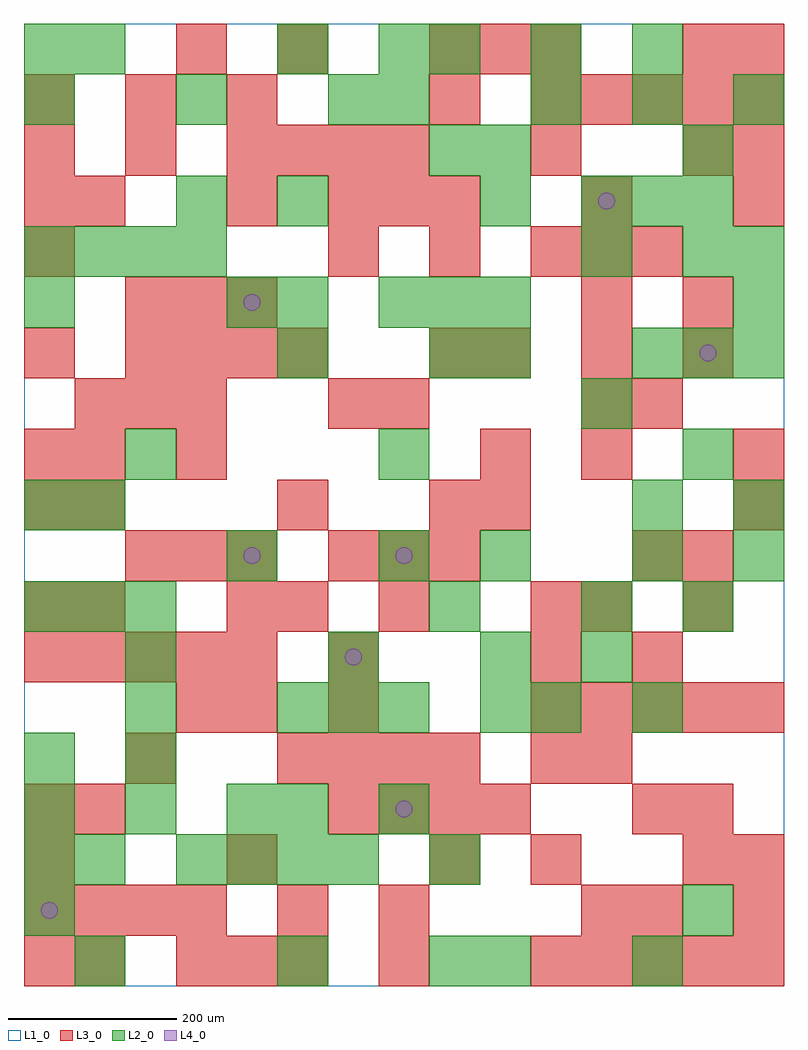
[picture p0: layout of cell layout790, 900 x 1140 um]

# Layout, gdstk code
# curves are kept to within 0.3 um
import gdstk
lib = gdstk.Library(unit=1e-6, precision=1e-09)
def R(c, l, rs):  # rectangles x0, y0, x1, y1
    for r in rs: c.add(gdstk.rectangle(r[:2], r[2:], *l))
def A(c, l, x, y, w, h, nx, ny, dx, dy):  # array of equal rectangles
    R(c, l, [(x+i*dx, y+j*dy, x+i*dx+w, y+j*dy+h) for i in range(nx) for j in range(ny)])
def P(c, l, *ps):  # polygons
    for p in ps: c.add(gdstk.Polygon(p, *l))
L1_0 = (1, 0)
L2_0 = (2, 0)
L3_0 = (3, 0)
L4_0 = (4, 0)

layout790 = lib.new_cell('layout790')
R(layout790, L1_0, [(0,0,900,1140)])
A(layout790, L2_0, 180, 120, 60, 60, 4, 1, 60, 0)
A(layout790, L2_0, 480, 120, 60, 60, 1, 3, 0, 300)
A(layout790, L2_0, 0, 180, 60, 60, 3, 1, 120, 0)
A(layout790, L2_0, 120, 240, 60, 60, 1, 3, 0, 60)
A(layout790, L2_0, 300, 300, 60, 60, 3, 1, 60, 0)
A(layout790, L2_0, 0, 420, 60, 60, 3, 1, 60, 0)
A(layout790, L2_0, 720, 720, 60, 60, 3, 1, 60, 0)
A(layout790, L2_0, 420, 780, 60, 60, 3, 1, 60, 0)
A(layout790, L2_0, 0, 840, 60, 60, 4, 1, 60, 0)
A(layout790, L2_0, 660, 900, 60, 60, 3, 1, 60, 0)
A(layout790, L2_0, 0, 1020, 60, 60, 3, 1, 180, 0)
A(layout790, L2_0, 600, 1020, 60, 60, 3, 1, 120, 0)
A(layout790, L2_0, 480, 1080, 60, 60, 3, 1, 120, 0)
R(layout790, L2_0, [(60,0,120,60), (300,0,360,60), (480,0,540,60), (540,0,600,60), (720,0,780,60), (0,60,60,120), (780,60,840,120), (0,120,60,180), (60,120,120,180), (300,180,360,240), (420,180,480,240), (0,240,60,300), (540,300,600,360), (600,300,660,360), (720,300,780,360), (360,360,420,420), (540,360,600,420), (660,360,720,420), (660,420,720,480), (780,420,840,480), (240,480,300,540), (420,480,480,540), (540,480,600,540), (720,480,780,540), (840,480,900,540), (0,540,60,600), (60,540,120,600), (720,540,780,600), (840,540,900,600), (120,600,180,660), (420,600,480,660), (780,600,840,660), (660,660,720,720), (300,720,360,780), (540,720,600,780), (0,780,60,840), (240,780,300,840), (300,780,360,840), (840,780,900,840), (660,840,720,900), (780,840,840,900), (840,840,900,900), (180,900,240,960), (300,900,360,960), (540,900,600,960), (480,960,540,1020), (540,960,600,1020), (780,960,840,1020), (420,1020,480,1080), (0,1080,60,1140), (60,1080,120,1140), (300,1080,360,1140), (420,1080,480,1140)])
A(layout790, L3_0, 180, 0, 60, 60, 3, 1, 60, 0)
A(layout790, L3_0, 600, 0, 60, 60, 5, 2, 60, 300)
A(layout790, L3_0, 0, 60, 60, 60, 4, 1, 60, 0)
A(layout790, L3_0, 660, 60, 60, 60, 1, 4, 0, 180)
A(layout790, L3_0, 0, 120, 60, 60, 3, 1, 240, 0)
A(layout790, L3_0, 600, 120, 60, 60, 1, 3, 0, 120)
A(layout790, L3_0, 360, 180, 60, 60, 4, 1, 60, 0)
A(layout790, L3_0, 300, 240, 60, 60, 4, 1, 60, 0)
A(layout790, L3_0, 0, 360, 60, 60, 5, 1, 60, 0)
A(layout790, L3_0, 120, 480, 60, 60, 3, 2, 60, 300)
A(layout790, L3_0, 360, 480, 60, 60, 3, 2, 60, 420)
A(layout790, L3_0, 720, 480, 60, 60, 1, 3, 0, 180)
A(layout790, L3_0, 0, 600, 60, 60, 1, 3, 0, 120)
A(layout790, L3_0, 60, 660, 60, 60, 3, 1, 60, 0)
A(layout790, L3_0, 120, 720, 60, 60, 4, 1, 60, 0)
A(layout790, L3_0, 540, 720, 60, 60, 3, 1, 120, 0)
A(layout790, L3_0, 660, 780, 60, 60, 1, 3, 0, 60)
A(layout790, L3_0, 360, 840, 60, 60, 3, 1, 120, 0)
A(layout790, L3_0, 0, 960, 60, 60, 3, 2, 120, 60)
A(layout790, L3_0, 300, 960, 60, 60, 3, 1, 60, 0)
A(layout790, L3_0, 600, 1020, 60, 60, 5, 1, 60, 0)
A(layout790, L3_0, 480, 1080, 60, 60, 3, 1, 60, 0)
R(layout790, L3_0, [(0,0,60,60), (60,0,120,60), (420,0,480,60), (300,60,360,120), (420,60,480,120), (720,60,780,120), (840,60,900,120), (780,120,840,180), (840,120,900,180), (0,180,60,240), (60,180,120,240), (720,180,780,240), (780,180,840,240), (120,240,180,300), (180,300,240,360), (240,300,300,360), (360,300,420,360), (360,360,420,420), (720,360,780,420), (0,420,60,480), (60,420,120,480), (240,420,300,480), (300,420,360,480), (420,420,480,480), (600,420,660,480), (780,420,840,480), (780,480,840,540), (0,540,60,600), (60,540,120,600), (300,540,360,600), (480,540,540,600), (540,540,600,600), (840,540,900,600), (60,600,120,660), (180,600,240,660), (540,600,600,660), (840,600,900,660), (360,660,420,720), (420,660,480,720), (660,660,720,720), (480,720,540,780), (780,780,840,840), (0,900,60,960), (60,900,120,960), (240,900,300,960), (840,900,900,960), (600,960,660,1020), (780,960,840,1020), (840,960,900,1020), (480,1020,540,1080), (180,1080,240,1140), (300,1080,360,1140), (780,1080,840,1140), (840,1080,900,1140)])
P(layout790, L4_0, [(40,90),(39.239,93.827),(37.071,97.071),(33.827,99.239),(30,100),(26.173,99.239),(22.929,97.071),(20.761,93.827),(20,90),(20.761,86.173),(22.929,82.929),(26.173,80.761),(30,80),(33.827,80.761),(37.071,82.929),(39.239,86.173)],
  [(280,510),(279.239,513.827),(277.071,517.071),(273.827,519.239),(270,520),(266.173,519.239),(262.929,517.071),(260.761,513.827),(260,510),(260.761,506.173),(262.929,502.929),(266.173,500.761),(270,500),(273.827,500.761),(277.071,502.929),(279.239,506.173)],
  [(280,810),(279.239,813.827),(277.071,817.071),(273.827,819.239),(270,820),(266.173,819.239),(262.929,817.071),(260.761,813.827),(260,810),(260.761,806.173),(262.929,802.929),(266.173,800.761),(270,800),(273.827,800.761),(277.071,802.929),(279.239,806.173)],
  [(400,390),(399.239,393.827),(397.071,397.071),(393.827,399.239),(390,400),(386.173,399.239),(382.929,397.071),(380.761,393.827),(380,390),(380.761,386.173),(382.929,382.929),(386.173,380.761),(390,380),(393.827,380.761),(397.071,382.929),(399.239,386.173)],
  [(460,210),(459.239,213.827),(457.071,217.071),(453.827,219.239),(450,220),(446.173,219.239),(442.929,217.071),(440.761,213.827),(440,210),(440.761,206.173),(442.929,202.929),(446.173,200.761),(450,200),(453.827,200.761),(457.071,202.929),(459.239,206.173)],
  [(460,510),(459.239,513.827),(457.071,517.071),(453.827,519.239),(450,520),(446.173,519.239),(442.929,517.071),(440.761,513.827),(440,510),(440.761,506.173),(442.929,502.929),(446.173,500.761),(450,500),(453.827,500.761),(457.071,502.929),(459.239,506.173)],
  [(700,930),(699.239,933.827),(697.071,937.071),(693.827,939.239),(690,940),(686.173,939.239),(682.929,937.071),(680.761,933.827),(680,930),(680.761,926.173),(682.929,922.929),(686.173,920.761),(690,920),(693.827,920.761),(697.071,922.929),(699.239,926.173)],
  [(820,750),(819.239,753.827),(817.071,757.071),(813.827,759.239),(810,760),(806.173,759.239),(802.929,757.071),(800.761,753.827),(800,750),(800.761,746.173),(802.929,742.929),(806.173,740.761),(810,740),(813.827,740.761),(817.071,742.929),(819.239,746.173)])

lib.write_gds('layout790.gds')
